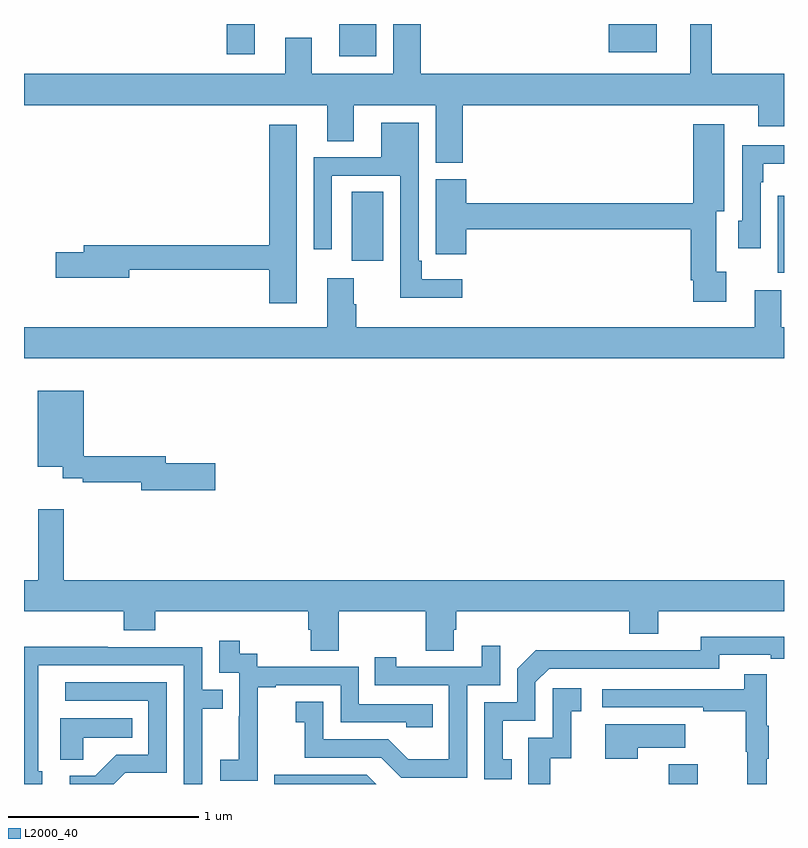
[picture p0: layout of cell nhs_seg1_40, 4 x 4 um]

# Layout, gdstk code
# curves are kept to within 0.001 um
import gdstk
lib = gdstk.Library(unit=1e-6, precision=1e-09)
def R(c, l, rs):  # rectangles x0, y0, x1, y1
    for r in rs: c.add(gdstk.rectangle(r[:2], r[2:], *l))
def P(c, l, *ps):  # polygons
    for p in ps: c.add(gdstk.Polygon(p, *l))
L2000_40 = (2000, 40)

nhs_seg1_40 = lib.new_cell('nhs_seg1_40')
R(nhs_seg1_40, L2000_40, [(116.393,508.199,116.545,508.303), (116.966,510.889,117,511.294), (114.725,510.954,114.892,511.316), (114.659,512.03,114.855,512.199), (114.068,512.04,114.214,512.199), (116.078,512.051,116.329,512.199)])
P(nhs_seg1_40, L2000_40, [(115.31,511.772),(116.864,511.772),(116.864,511.662),(117,511.662),(117,511.936),(116.621,511.936),(116.621,512.199),(116.507,512.199),(116.507,511.936),(115.088,511.936),(115.088,512.199),(114.944,512.199),(114.944,511.936),(114.514,511.936),(114.514,512.126),(114.374,512.126),(114.374,511.936),(113,511.936),(113,511.772),(114.596,511.772),(114.596,511.582),(114.736,511.582),(114.736,511.772),(115.166,511.772),(115.166,511.468),(115.31,511.468)],
  [(115.306,510.856),(115.093,510.856),(115.093,510.952),(115.077,510.952),(115.077,511.678),(114.881,511.678),(114.881,511.497),(114.525,511.497),(114.525,511.014),(114.621,511.014),(114.621,511.401),(114.981,511.401),(114.981,510.758),(115.306,510.758)],
  [(116.695,510.894),(116.644,510.894),(116.644,511.214),(116.686,511.214),(116.686,511.672),(116.522,511.672),(116.522,511.256),(115.328,511.256),(115.328,511.383),(115.166,511.383),(115.166,511.099),(115.167,511.099),(115.167,510.987),(115.328,510.987),(115.328,511.12),(116.51,511.12),(116.51,510.85),(116.522,510.85),(116.522,510.738),(116.695,510.738)],
  [(114.436,511.669),(114.29,511.669),(114.29,511.034),(113.315,511.034),(113.315,510.998),(113.166,510.998),(113.166,510.863),(113.554,510.863),(113.554,510.906),(114.29,510.906),(114.29,510.729),(114.436,510.729)],
  [(116.877,511.367),(116.89,511.367),(116.89,511.463),(117,511.463),(117,511.56),(116.781,511.56),(116.781,511.164),(116.76,511.164),(116.76,511.02),(116.877,511.02)],
  [(117,510.604),(116.986,510.604),(116.986,510.799),(116.846,510.799),(116.846,510.604),(114.749,510.604),(114.749,510.725),(114.736,510.725),(114.736,510.862),(114.596,510.862),(114.596,510.604),(113,510.604),(113,510.44),(117,510.44)],
  [(114.007,509.888),(113.746,509.888),(113.746,509.924),(113.314,509.924),(113.314,510.268),(113.072,510.268),(113.072,509.87),(113.204,509.87),(113.204,509.807),(113.308,509.807),(113.308,509.788),(113.618,509.788),(113.618,509.746),(114.007,509.746)],
  [(114.657,509.108),(115.114,509.108),(115.114,508.9),(115.261,508.9),(115.261,509.01),(115.274,509.01),(115.274,509.108),(116.186,509.108),(116.186,508.991),(116.338,508.991),(116.338,509.108),(117,509.108),(117,509.272),(113.21,509.272),(113.21,509.644),(113.074,509.644),(113.074,509.272),(113,509.272),(113,509.108),(113.525,509.108),(113.525,509.009),(113.69,509.009),(113.69,509.108),(114.497,509.108),(114.497,509.01),(114.509,509.01),(114.509,508.9),(114.657,508.9)],
  [(115.568,508.329),(115.519,508.329),(115.519,508.533),(115.692,508.533),(115.692,508.734),(115.764,508.806),(116.658,508.806),(116.658,508.878),(116.93,508.878),(116.93,508.858),(117,508.858),(117,508.974),(116.562,508.975),(116.562,508.902),(116.102,508.902),(116.102,508.904),(115.694,508.904),(115.596,508.806),(115.596,508.629),(115.422,508.629),(115.422,508.224),(115.568,508.224)],
  [(114.231,508.423),(114.23,508.423),(114.23,508.707),(114.325,508.707),(114.325,508.719),(114.666,508.719),(114.666,508.524),(115.011,508.524),(115.011,508.497),(115.151,508.497),(115.151,508.62),(114.762,508.62),(114.762,508.815),(114.228,508.815),(114.228,508.884),(114.136,508.884),(114.136,508.954),(114.027,508.954),(114.027,508.785),(114.132,508.785),(114.132,508.556),(114.131,508.556),(114.131,508.327),(114.033,508.327),(114.033,508.217),(114.231,508.217)],
  [(115.332,508.719),(115.506,508.719),(115.506,508.927),(115.409,508.927),(115.409,508.815),(114.958,508.815),(114.958,508.867),(114.847,508.867),(114.847,508.719),(115.236,508.719),(115.236,508.33),(115.022,508.33),(114.918,508.434),(114.576,508.434),(114.576,508.633),(114.429,508.633),(114.429,508.523),(114.478,508.523),(114.478,508.338),(114.881,508.338),(114.986,508.233),(115.332,508.233)],
  [(113.095,508.266),(113.076,508.266),(113.076,508.824),(113.841,508.824),(113.841,508.199),(113.937,508.199),(113.937,508.594),(114.047,508.594),(114.047,508.695),(113.937,508.695),(113.937,508.92),(113.441,508.92),(113.441,508.922),(113,508.922),(113,508.199),(113.095,508.199)],
  [(116.909,508.331),(116.92,508.331),(116.92,508.505),(116.909,508.505),(116.909,508.777),(116.791,508.777),(116.791,508.698),(116.043,508.698),(116.043,508.602),(116.575,508.602),(116.575,508.582),(116.799,508.582),(116.799,508.368),(116.806,508.368),(116.806,508.199),(116.909,508.199)],
  [(113.532,508.257),(113.751,508.257),(113.751,508.734),(113.217,508.734),(113.217,508.638),(113.655,508.638),(113.655,508.353),(113.486,508.353),(113.375,508.242),(113.241,508.242),(113.241,508.199),(113.473,508.199)],
  [(115.769,508.335),(115.88,508.335),(115.88,508.581),(115.933,508.581),(115.933,508.702),(115.782,508.702),(115.782,508.443),(115.653,508.443),(115.653,508.199),(115.769,508.199)],
  [(113.313,508.442),(113.57,508.442),(113.57,508.546),(113.192,508.546),(113.192,508.327),(113.313,508.327)],
  [(116.231,508.391),(116.479,508.391),(116.479,508.513),(116.06,508.513),(116.06,508.332),(116.231,508.332)],
  [(114.804,508.248),(114.318,508.248),(114.318,508.199),(114.853,508.199)])

lib.write_gds('nhs_seg1_40.gds')
